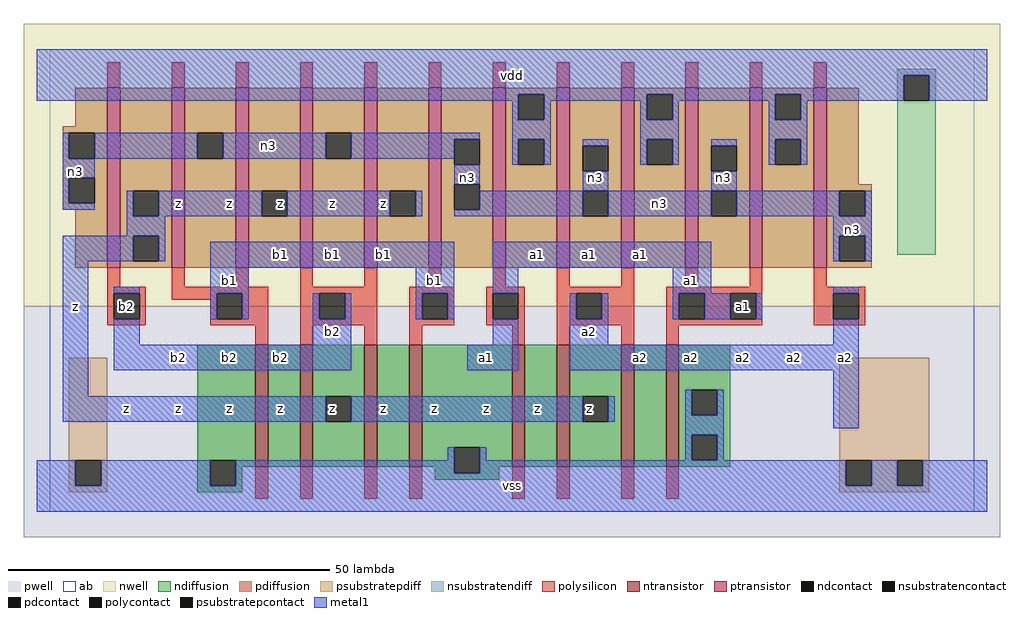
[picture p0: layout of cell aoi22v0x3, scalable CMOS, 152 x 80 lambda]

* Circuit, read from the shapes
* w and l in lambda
.subckt aoi22v0x3 a1 a2 b1 b2 n3 vdd vss z
M1 n1 b1 vss vss nfet w=19 l=2
M2 z b2 n1 vss nfet w=19 l=2
M3 n2 b2 z vss nfet w=19 l=2
M4 vss b1 n2 vss nfet w=19 l=2
M5 n4 a1 vss vss nfet w=19 l=2
M6 z a2 n4 vss nfet w=19 l=2
M7 n5 a2 z vss nfet w=19 l=2
M8 vss a1 n5 vss nfet w=19 l=2
M9 z b2 n3 vdd pfet w=28 l=2 m=3
M10 n3 b1 z vdd pfet w=28 l=2 m=3
M11 vdd a1 n3 vdd pfet w=28 l=2 m=3
M12 n3 a2 vdd vdd pfet w=28 l=2 m=3
.ends

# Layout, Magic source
magic
tech scmos
<< ab >>
rect 0 0 144 72
<< pwell >>
rect -4 -4 148 32
<< nwell >>
rect -4 32 148 76
<< polysilicon >>
rect 9 66 11 70
rect 19 66 21 70
rect 29 66 31 70
rect 39 66 41 70
rect 49 66 51 70
rect 59 66 61 70
rect 69 66 71 70
rect 79 66 81 70
rect 89 66 91 70
rect 99 66 101 70
rect 109 66 111 70
rect 119 66 121 70
rect 9 35 11 38
rect 19 35 21 38
rect 29 35 31 38
rect 39 35 41 38
rect 49 35 51 38
rect 59 35 61 38
rect 69 35 71 38
rect 79 35 81 38
rect 89 35 91 38
rect 99 35 101 38
rect 109 35 111 38
rect 9 34 15 35
rect 9 30 10 34
rect 14 30 15 34
rect 19 34 34 35
rect 19 33 26 34
rect 9 29 15 30
rect 25 30 26 33
rect 30 30 34 34
rect 25 29 34 30
rect 32 26 34 29
rect 39 34 51 35
rect 39 30 42 34
rect 46 30 51 34
rect 39 29 51 30
rect 39 26 41 29
rect 49 26 51 29
rect 56 34 63 35
rect 56 30 58 34
rect 62 30 63 34
rect 56 29 63 30
rect 68 34 74 35
rect 68 30 69 34
rect 73 30 74 34
rect 68 29 74 30
rect 56 26 58 29
rect 72 26 74 29
rect 79 34 91 35
rect 79 30 82 34
rect 86 30 91 34
rect 79 29 91 30
rect 79 26 81 29
rect 89 26 91 29
rect 96 34 111 35
rect 96 30 98 34
rect 102 30 106 34
rect 110 30 111 34
rect 96 29 111 30
rect 119 35 121 38
rect 119 34 127 35
rect 119 30 122 34
rect 126 30 127 34
rect 119 29 127 30
rect 96 26 98 29
rect 32 2 34 7
rect 39 2 41 7
rect 49 2 51 7
rect 56 2 58 7
rect 72 2 74 7
rect 79 2 81 7
rect 89 2 91 7
rect 96 2 98 7
<< ndiffusion >>
rect 23 8 32 26
rect 23 4 25 8
rect 29 7 32 8
rect 34 7 39 26
rect 41 18 49 26
rect 41 14 43 18
rect 47 14 49 18
rect 41 7 49 14
rect 51 7 56 26
rect 58 10 72 26
rect 58 7 63 10
rect 29 4 30 7
rect 23 3 30 4
rect 60 6 63 7
rect 67 7 72 10
rect 74 7 79 26
rect 81 18 89 26
rect 81 14 83 18
rect 87 14 89 18
rect 81 7 89 14
rect 91 7 96 26
rect 98 19 106 26
rect 98 15 100 19
rect 104 15 106 19
rect 98 12 106 15
rect 98 8 100 12
rect 104 8 106 12
rect 98 7 106 8
rect 67 6 70 7
rect 60 5 70 6
<< pdiffusion >>
rect 4 60 9 66
rect 2 59 9 60
rect 2 55 3 59
rect 7 55 9 59
rect 2 52 9 55
rect 2 48 3 52
rect 7 48 9 52
rect 2 47 9 48
rect 4 38 9 47
rect 11 50 19 66
rect 11 46 13 50
rect 17 46 19 50
rect 11 43 19 46
rect 11 39 13 43
rect 17 39 19 43
rect 11 38 19 39
rect 21 59 29 66
rect 21 55 23 59
rect 27 55 29 59
rect 21 38 29 55
rect 31 50 39 66
rect 31 46 33 50
rect 37 46 39 50
rect 31 38 39 46
rect 41 59 49 66
rect 41 55 43 59
rect 47 55 49 59
rect 41 38 49 55
rect 51 50 59 66
rect 51 46 53 50
rect 57 46 59 50
rect 51 38 59 46
rect 61 58 69 66
rect 61 54 63 58
rect 67 54 69 58
rect 61 51 69 54
rect 61 47 63 51
rect 67 47 69 51
rect 61 38 69 47
rect 71 65 79 66
rect 71 61 73 65
rect 77 61 79 65
rect 71 58 79 61
rect 71 54 73 58
rect 77 54 79 58
rect 71 38 79 54
rect 81 57 89 66
rect 81 53 83 57
rect 87 53 89 57
rect 81 50 89 53
rect 81 46 83 50
rect 87 46 89 50
rect 81 38 89 46
rect 91 65 99 66
rect 91 61 93 65
rect 97 61 99 65
rect 91 58 99 61
rect 91 54 93 58
rect 97 54 99 58
rect 91 38 99 54
rect 101 57 109 66
rect 101 53 103 57
rect 107 53 109 57
rect 101 50 109 53
rect 101 46 103 50
rect 107 46 109 50
rect 101 38 109 46
rect 111 65 119 66
rect 111 61 113 65
rect 117 61 119 65
rect 111 58 119 61
rect 111 54 113 58
rect 117 54 119 58
rect 111 38 119 54
rect 121 51 126 66
rect 121 50 128 51
rect 121 46 123 50
rect 127 46 128 50
rect 121 43 128 46
rect 121 39 123 43
rect 127 39 128 43
rect 121 38 128 39
<< metal1 >>
rect -2 68 146 72
rect -2 65 133 68
rect -2 64 73 65
rect 72 61 73 64
rect 77 64 93 65
rect 77 61 78 64
rect 2 55 3 59
rect 7 55 23 59
rect 27 55 43 59
rect 47 58 67 59
rect 47 55 63 58
rect 2 52 7 55
rect 2 48 3 52
rect 72 58 78 61
rect 92 61 93 64
rect 97 64 113 65
rect 97 61 98 64
rect 92 58 98 61
rect 112 61 113 64
rect 117 64 133 65
rect 137 64 146 68
rect 117 61 118 64
rect 112 58 118 61
rect 72 54 73 58
rect 77 54 78 58
rect 83 57 87 58
rect 63 51 67 54
rect 2 47 7 48
rect 12 46 13 50
rect 17 46 33 50
rect 37 46 53 50
rect 57 46 58 50
rect 92 54 93 58
rect 97 54 98 58
rect 103 57 107 58
rect 83 50 87 53
rect 112 54 113 58
rect 117 54 118 58
rect 103 50 107 53
rect 67 47 83 50
rect 63 46 83 47
rect 87 46 103 50
rect 107 46 123 50
rect 127 46 128 50
rect 12 43 18 46
rect 2 39 13 43
rect 17 39 18 43
rect 122 43 128 46
rect 2 18 6 39
rect 25 38 63 42
rect 10 34 14 35
rect 25 34 31 38
rect 57 34 63 38
rect 25 30 26 34
rect 30 30 31 34
rect 41 30 42 34
rect 46 30 47 34
rect 57 30 58 34
rect 62 30 63 34
rect 69 38 103 42
rect 122 39 123 43
rect 127 39 128 43
rect 69 34 73 38
rect 97 34 103 38
rect 122 34 126 35
rect 10 26 14 30
rect 41 26 47 30
rect 69 26 73 30
rect 10 22 47 26
rect 65 22 73 26
rect 81 30 82 34
rect 86 30 87 34
rect 97 30 98 34
rect 102 30 106 34
rect 110 30 111 34
rect 81 26 87 30
rect 122 26 126 30
rect 81 22 126 26
rect 2 14 43 18
rect 47 14 83 18
rect 87 14 88 18
rect 99 15 100 19
rect 104 15 105 19
rect 99 12 105 15
rect 122 13 126 22
rect 62 8 63 10
rect -2 4 4 8
rect 8 4 25 8
rect 29 6 63 8
rect 67 8 68 10
rect 99 8 100 12
rect 104 8 105 12
rect 67 6 124 8
rect 29 4 124 6
rect 128 4 132 8
rect 136 4 146 8
rect -2 0 146 4
<< ntransistor >>
rect 32 7 34 26
rect 39 7 41 26
rect 49 7 51 26
rect 56 7 58 26
rect 72 7 74 26
rect 79 7 81 26
rect 89 7 91 26
rect 96 7 98 26
<< ptransistor >>
rect 9 38 11 66
rect 19 38 21 66
rect 29 38 31 66
rect 39 38 41 66
rect 49 38 51 66
rect 59 38 61 66
rect 69 38 71 66
rect 79 38 81 66
rect 89 38 91 66
rect 99 38 101 66
rect 109 38 111 66
rect 119 38 121 66
<< polycontact >>
rect 10 30 14 34
rect 26 30 30 34
rect 42 30 46 34
rect 58 30 62 34
rect 69 30 73 34
rect 82 30 86 34
rect 98 30 102 34
rect 106 30 110 34
rect 122 30 126 34
<< ndcontact >>
rect 25 4 29 8
rect 43 14 47 18
rect 63 6 67 10
rect 83 14 87 18
rect 100 15 104 19
rect 100 8 104 12
<< pdcontact >>
rect 3 55 7 59
rect 3 48 7 52
rect 13 46 17 50
rect 13 39 17 43
rect 23 55 27 59
rect 33 46 37 50
rect 43 55 47 59
rect 53 46 57 50
rect 63 54 67 58
rect 63 47 67 51
rect 73 61 77 65
rect 73 54 77 58
rect 83 53 87 57
rect 83 46 87 50
rect 93 61 97 65
rect 93 54 97 58
rect 103 53 107 57
rect 103 46 107 50
rect 113 61 117 65
rect 113 54 117 58
rect 123 46 127 50
rect 123 39 127 43
<< psubstratepcontact >>
rect 4 4 8 8
rect 124 4 128 8
rect 132 4 136 8
<< nsubstratencontact >>
rect 133 64 137 68
<< psubstratepdiff >>
rect 3 8 9 24
rect 3 4 4 8
rect 8 4 9 8
rect 3 3 9 4
rect 123 8 137 24
rect 123 4 124 8
rect 128 4 132 8
rect 136 4 137 8
rect 123 3 137 4
<< nsubstratendiff >>
rect 132 68 138 69
rect 132 64 133 68
rect 137 64 138 68
rect 132 40 138 64
<< labels >>
rlabel metal1 12 16 12 16 6 z
rlabel metal1 20 16 20 16 6 z
rlabel metal1 20 24 20 24 6 b2
rlabel polycontact 12 32 12 32 6 b2
rlabel metal1 4 32 4 32 6 z
rlabel metal1 20 48 20 48 6 z
rlabel metal1 4 53 4 53 6 n3
rlabel metal1 36 16 36 16 6 z
rlabel ndcontact 44 16 44 16 6 z
rlabel metal1 52 16 52 16 6 z
rlabel metal1 28 16 28 16 6 z
rlabel metal1 28 24 28 24 6 b2
rlabel metal1 36 24 36 24 6 b2
rlabel metal1 44 28 44 28 6 b2
rlabel metal1 28 36 28 36 6 b1
rlabel metal1 36 40 36 40 6 b1
rlabel metal1 44 40 44 40 6 b1
rlabel metal1 52 40 52 40 6 b1
rlabel metal1 28 48 28 48 6 z
rlabel pdcontact 36 48 36 48 6 z
rlabel metal1 44 48 44 48 6 z
rlabel metal1 52 48 52 48 6 z
rlabel metal1 72 4 72 4 6 vss
rlabel metal1 68 16 68 16 6 z
rlabel metal1 76 16 76 16 6 z
rlabel ndcontact 84 16 84 16 6 z
rlabel metal1 60 16 60 16 6 z
rlabel metal1 68 24 68 24 6 a1
rlabel metal1 84 28 84 28 6 a2
rlabel metal1 60 36 60 36 6 b1
rlabel metal1 76 40 76 40 6 a1
rlabel metal1 84 40 84 40 6 a1
rlabel metal1 65 52 65 52 6 n3
rlabel metal1 34 57 34 57 6 n3
rlabel metal1 72 68 72 68 6 vdd
rlabel metal1 100 24 100 24 6 a2
rlabel metal1 108 24 108 24 6 a2
rlabel metal1 92 24 92 24 6 a2
rlabel polycontact 108 32 108 32 6 a1
rlabel metal1 92 40 92 40 6 a1
rlabel metal1 100 36 100 36 6 a1
rlabel metal1 105 52 105 52 6 n3
rlabel metal1 85 52 85 52 6 n3
rlabel metal1 116 24 116 24 6 a2
rlabel metal1 124 24 124 24 6 a2
rlabel metal1 125 44 125 44 6 n3
rlabel metal1 95 48 95 48 6 n3
<< end >>
